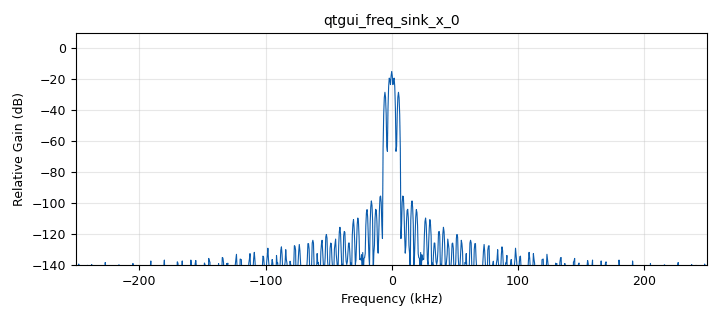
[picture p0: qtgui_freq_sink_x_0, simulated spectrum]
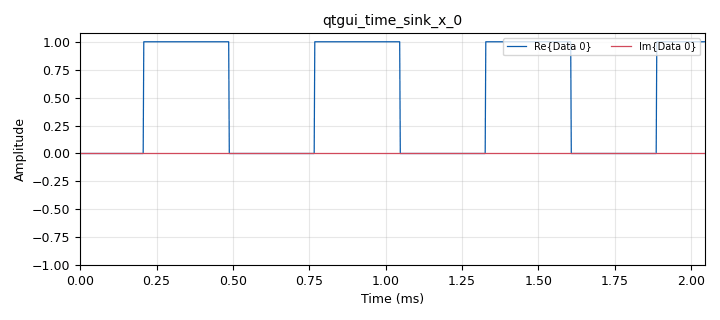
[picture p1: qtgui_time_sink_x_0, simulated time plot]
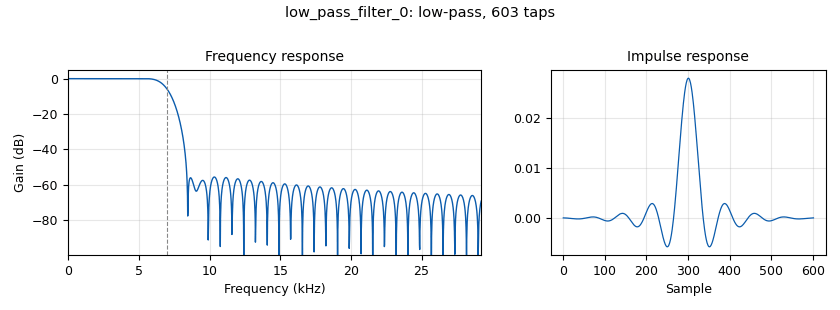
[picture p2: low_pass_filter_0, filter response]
<?xml version='1.0' encoding='utf-8'?>
<?grc format='1' created='3.7.13'?>
<flow_graph>
<block>
<key>options</key>
<param><key>id</key><value>top_block</value></param>
<param><key>generate_options</key><value>qt_gui</value></param>
</block>
<block>
<key>variable</key>
<param><key>id</key><value>samp_rate</value></param>
<param><key>value</key><value>500e3</value></param>
</block>
<block>
<key>variable</key>
<param><key>id</key><value>target_freq</value></param>
<param><key>value</key><value>40.68e6</value></param>
</block>
<block>
<key>blocks_repeat</key>
<param><key>id</key><value>blocks_repeat_0</value></param>
<param><key>interp</key><value>140</value></param>
<param><key>type</key><value>complex</value></param>
</block>
<block>
<key>blocks_throttle</key>
<param><key>id</key><value>blocks_throttle_0</value></param>
<param><key>samples_per_second</key><value>samp_rate</value></param>
<param><key>type</key><value>complex</value></param>
</block>
<block>
<key>blocks_vector_source_x</key>
<param><key>id</key><value>blocks_vector_source_x_0</value></param>
<param><key>type</key><value>complex</value></param>
<param><key>repeat</key><value>True</value></param>
<param><key>vector</key><value>[1, 1, 1,1, 0,1, 1, 1, 1, 0,1, 1, 1, 1, 0,1, 1, 1, 1, 0, 1, 0, 1, 0, 1, 0, 1, 0, 1, 0, 1, 0, 1, 0, 1, 0, 1, 0, 1, 0]</value></param>
</block>
<block>
<key>low_pass_filter</key>
<param><key>id</key><value>low_pass_filter_0</value></param>
<param><key>cutoff_freq</key><value>7e3</value></param>
<param><key>decim</key><value>1</value></param>
<param><key>type</key><value>fir_filter_ccf</value></param>
<param><key>gain</key><value>1</value></param>
<param><key>samp_rate</key><value>samp_rate</value></param>
<param><key>width</key><value>2e3</value></param>
<param><key>win</key><value>firdes.WIN_HAMMING</value></param>
</block>
<block>
<key>osmosdr_sink</key>
<param><key>id</key><value>osmosdr_sink_0</value></param>
<param><key>bb_gain0</key><value>20</value></param>
<param><key>freq0</key><value>target_freq</value></param>
<param><key>if_gain0</key><value>30</value></param>
<param><key>gain0</key><value>0</value></param>
<param><key>args</key><value></value></param>
<param><key>type</key><value>fc32</value></param>
<param><key>sample_rate</key><value>samp_rate</value></param>
<param><key>sync</key><value></value></param>
</block>
<block>
<key>qtgui_freq_sink_x</key>
<param><key>id</key><value>qtgui_freq_sink_x_0</value></param>
<param><key>bw</key><value>samp_rate</value></param>
<param><key>fc</key><value>0</value></param>
<param><key>fftsize</key><value>1024</value></param>
<param><key>showports</key><value>True</value></param>
<param><key>type</key><value>complex</value></param>
<param><key>wintype</key><value>firdes.WIN_BLACKMAN_hARRIS</value></param>
</block>
<block>
<key>qtgui_time_sink_x</key>
<param><key>id</key><value>qtgui_time_sink_x_0</value></param>
<param><key>ctrlpanel</key><value>True</value></param>
<param><key>color1</key><value>"blue"</value></param>
<param><key>label1</key><value></value></param>
<param><key>color2</key><value>"red"</value></param>
<param><key>label2</key><value></value></param>
<param><key>size</key><value>1024</value></param>
<param><key>srate</key><value>samp_rate</value></param>
<param><key>type</key><value>complex</value></param>
</block>
<connection><source_block_id>blocks_repeat_0</source_block_id><sink_block_id>blocks_throttle_0</sink_block_id><source_key>0</source_key><sink_key>0</sink_key></connection>
<connection><source_block_id>blocks_throttle_0</source_block_id><sink_block_id>low_pass_filter_0</sink_block_id><source_key>0</source_key><sink_key>0</sink_key></connection>
<connection><source_block_id>blocks_throttle_0</source_block_id><sink_block_id>qtgui_time_sink_x_0</sink_block_id><source_key>0</source_key><sink_key>0</sink_key></connection>
<connection><source_block_id>blocks_vector_source_x_0</source_block_id><sink_block_id>blocks_repeat_0</sink_block_id><source_key>0</source_key><sink_key>0</sink_key></connection>
<connection><source_block_id>low_pass_filter_0</source_block_id><sink_block_id>osmosdr_sink_0</sink_block_id><source_key>0</source_key><sink_key>0</sink_key></connection>
<connection><source_block_id>low_pass_filter_0</source_block_id><sink_block_id>qtgui_freq_sink_x_0</sink_block_id><source_key>0</source_key><sink_key>0</sink_key></connection>
</flow_graph>
